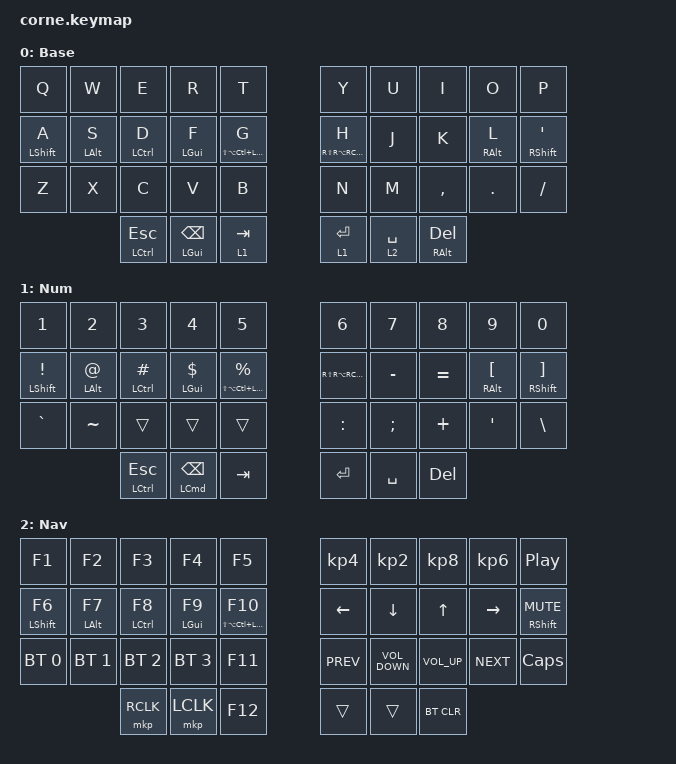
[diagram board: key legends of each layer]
/*
 * Copyright (c) 2020 The ZMK Contributors
 *
 * SPDX-License-Identifier: MIT
 */

#include <dt-bindings/zmk/mouse.h>
#include <behaviors.dtsi>
#include <dt-bindings/zmk/bt.h>
#include <dt-bindings/zmk/keys.h>

/ {
    chosen { zmk,matrix_transform = &five_column_transform; };
};

/ {
    behaviors {
        hmr: hmr {
            compatible = "zmk,behavior-hold-tap";
            label = "HMR";
            bindings = <&kp>, <&kp>;

            #binding-cells = <2>;
            tapping-term-ms = <200>;
            flavor = "balanced";
            hold-trigger-key-positions = <0 1 2 3 4 10 11 12 13 14 20 21 22 23 24 30 31 32 33 34 35>;
            hold-trigger-on-release;
            quick-tap-ms = <150>;
            require-prior-idle-ms = <125>;
        };

        hml: hml {
            compatible = "zmk,behavior-hold-tap";
            label = "HML";
            bindings = <&kp>, <&kp>;

            #binding-cells = <2>;
            tapping-term-ms = <200>;
            flavor = "balanced";
            hold-trigger-on-release;
            hold-trigger-key-positions = <5 6 7 8 9 15 16 17 18 19 25 26 27 28 29 33 34 35 32 31 30>;
            quick-tap-ms = <150>;
            require-prior-idle-ms = <125>;
        };

        tab: tab {
            compatible = "zmk,behavior-hold-tap";
            label = "TAB";
            bindings = <&kp>, <&kp>;

            #binding-cells = <2>;
            tapping-term-ms = <300>;
            quick-tap-ms = <150>;
            flavor = "balanced";
            hold-trigger-on-release;
            hold-trigger-key-positions = <32 20 10 0>;
        };
    };

    combos { compatible = "zmk,combos"; };

    keymap {
        compatible = "zmk,keymap";

        base {
            // -----------------------------------------------------------------------------------------
            // |  TAB |  Q  |  W  |  E  |  R  |  T  |   |  Y  |  U   |  I  |  O  |  P  | BKSP |
            // | CTRL |  A  |  S  |  D  |  F  |  G  |   |  H  |  J   |  K  |  L  |  ;  |  '   |
            // | SHFT |  Z  |  X  |  C  |  V  |  B  |   |  N  |  M   |  ,  |  .  |  /  | ESC  |
            //                    | GUI | LWR | SPC |   | ENT | RSE  | ALT |

            label = "Base";
            bindings = <
  &kp Q          &kp W        &kp E             &kp R               &kp T                              &kp Y                    &kp U        &kp I            &kp O        &kp P
  &hml LSHIFT A  &hml LALT S  &hml LCTRL D      &hml LEFT_GUI F     &hml LS(LA(LC(LEFT_COMMAND))) G    &hmr RS(RA(RC(RGUI))) H  &kp J        &kp K            &hmr RALT L  &hmr RIGHT_SHIFT SINGLE_QUOTE
  &kp Z          &kp X        &kp C             &kp V               &kp B                              &kp N                    &kp M        &kp COMMA        &kp DOT      &kp FSLH
                              &mt LCTRL ESCAPE  &mt LGUI BACKSPACE  &lt 1 TAB                          &lt 1 ENTER              &lt 2 SPACE  &mt RALT DELETE
            >;
        };

        num {
            bindings = <
  &kp NUMBER_1                 &kp NUMBER_2       &kp NUMBER_3             &kp NUMBER_4                &kp N5                           &kp NUMBER_6          &kp N7         &kp N8      &kp N9                  &kp NUMBER_0
  &hml LEFT_SHIFT EXCLAMATION  &hml LALT AT_SIGN  &hml LEFT_CONTROL HASH   &hml LGUI DOLLAR            &hml LS(LA(LC(LGUI))) PERCENT    &kp RS(RA(RC(RGUI)))  &kp MINUS      &kp EQUAL   &hmr RALT LEFT_BRACKET  &hmr RIGHT_SHIFT RIGHT_BRACKET
  &kp GRAVE                    &kp TILDE          &trans                   &trans                      &trans                           &kp COLON             &kp SEMICOLON  &kp PLUS    &kp SINGLE_QUOTE        &kp BACKSLASH
                                                  &mt LEFT_CONTROL ESCAPE  &mt LEFT_COMMAND BACKSPACE  &kp TAB                          &kp ENTER             &kp SPACE      &kp DELETE
            >;

            label = "Num";
        };

        nav {
            // -----------------------------------------------------------------------------------------
            // |  TAB |  1  |  2  |  3  |  4  |  5  |   |  6  |  7  |  8  |  9  |  0  | BKSP |
            // | BTCLR| BT1 | BT2 | BT3 | BT4 | BT5 |   | LFT | DWN |  UP | RGT |     |      |
            // | SHFT |     |     |     |     |     |   |     |     |     |     |     |      |
            //                    |BTCLR|     | SPC |   | ENT |     | ALT |

            label = "Nav";
            bindings = <
  &kp F1              &kp F2        &kp F3                &kp F4            &kp F5                       &kp KP_N4   &kp KP_N2          &kp KP_N8        &kp KP_N6        &kp C_PP
  &hml LEFT_SHIFT F6  &hml LALT F7  &hml LEFT_CONTROL F8  &hml LEFT_GUI F9  &hml LS(LA(LC(LGUI))) F10    &kp LEFT    &kp DOWN_ARROW     &kp UP_ARROW     &kp RIGHT_ARROW  &hmr RIGHT_SHIFT K_MUTE
  &bt BT_SEL 0        &bt BT_SEL 1  &bt BT_SEL 2          &bt BT_SEL 3      &kp F11                      &kp C_PREV  &kp C_VOLUME_DOWN  &kp C_VOLUME_UP  &kp C_NEXT       &kp CAPSLOCK
                                    &mkp RCLK             &mkp LCLK         &kp F12                      &trans      &trans             &bt BT_CLR
            >;
        };
    };
};
